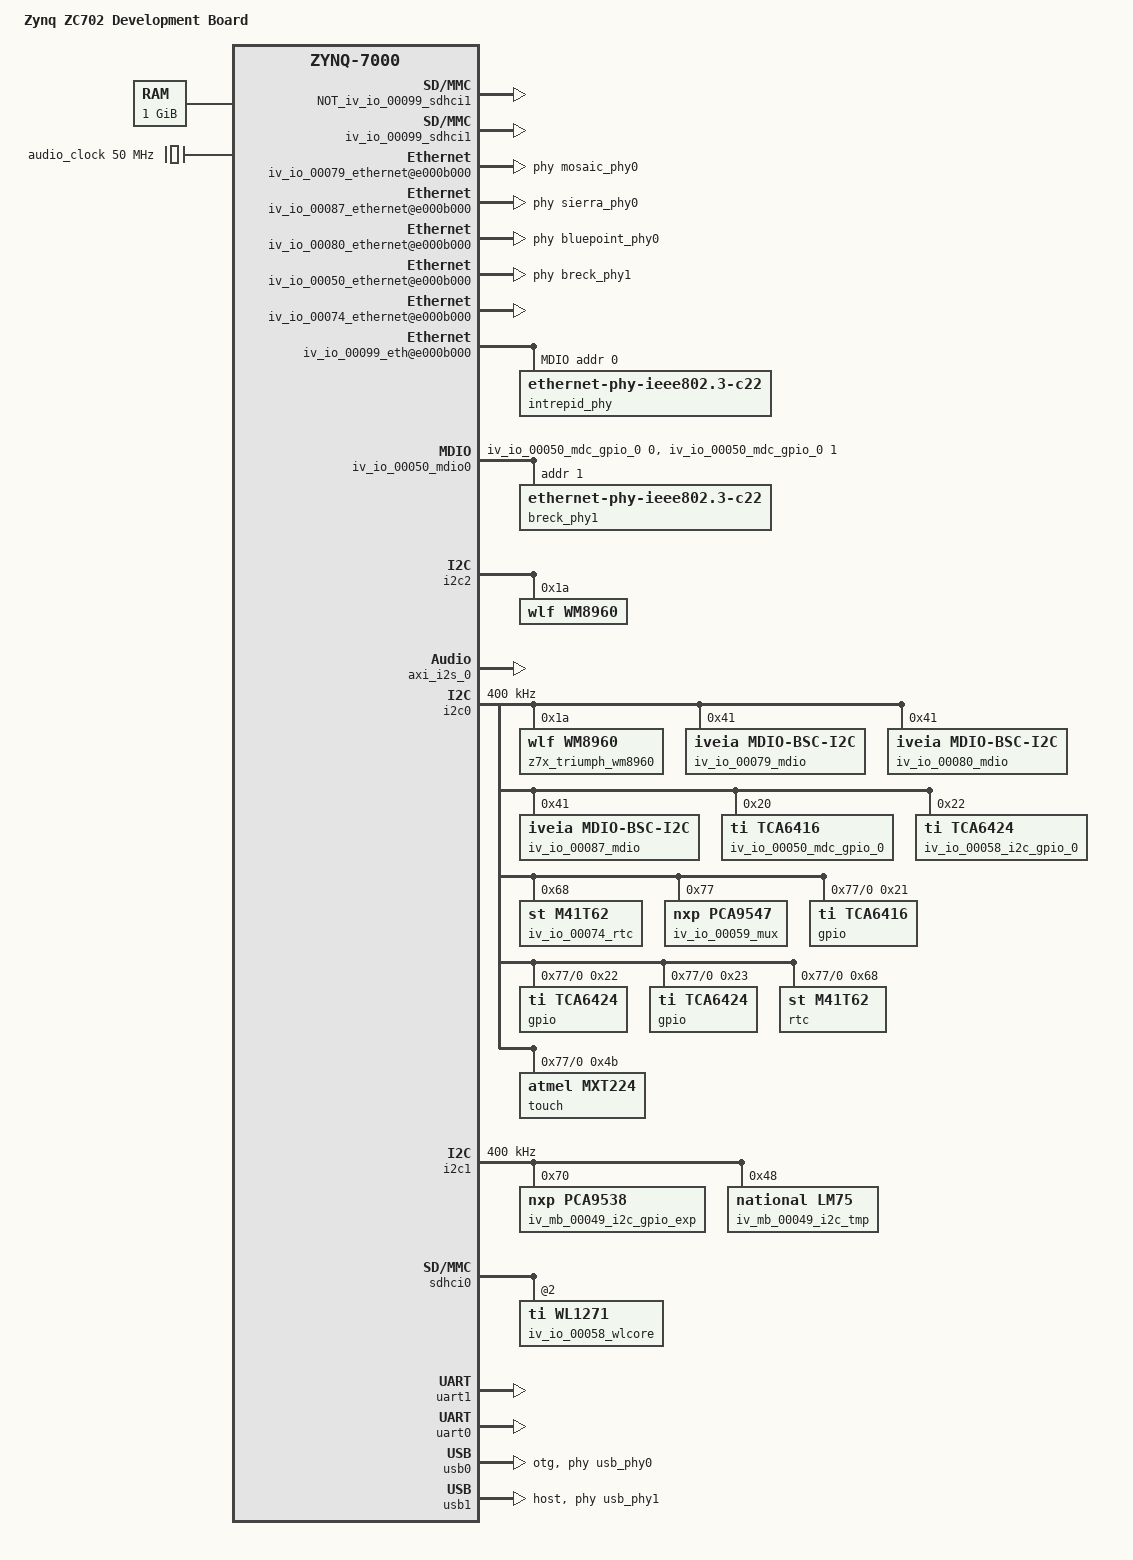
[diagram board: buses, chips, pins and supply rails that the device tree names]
/*
 *  Copyright (C) 2011 - 2014 Xilinx
 *  Copyright (C) 2012 National Instruments Corp.
 *
 * This software is licensed under the terms of the GNU General Public
 * License version 2, as published by the Free Software Foundation, and
 * may be copied, distributed, and modified under those terms.
 *
 * This program is distributed in the hope that it will be useful,
 * but WITHOUT ANY WARRANTY; without even the implied warranty of
 * MERCHANTABILITY or FITNESS FOR A PARTICULAR PURPOSE.  See the
 * GNU General Public License for more details.
 */
/dts-v1/;
#include "zynq-7000.dtsi"

/ {
	model = "Zynq ZC702 Development Board";
//	compatible = "xlnx,zynq-zc702", "xlnx,zynq-7000";
	compatible = "iveia,atlas-i-z7e";

	aliases {
		i2c0 = &i2c0;
		i2c1 = &i2c1;
		serial0 = &uart1;
		mmc0 = &sdhci0;
	};

	memory@0 {
		device_type = "memory";
		reg = <0x0 0x40000000>;
	};

	chosen {
		bootargs = "console=ttyPS1,115200 root=/dev/ram rw earlyprintk";
		stdout-path = "serial0:115200n8";
	};

	iveia_fb {
		compatible = "iveia,fb";
	};
	
	usb_phy0: phy0@e0002000 {
		compatible = "ulpi-phy";
		#phy-cells = <0>;
		reg = <0xe0002000 0x1000>;
		view-port = <0x0170>;
		drv-vbus;
	};

	usb_phy1: phy0@e0003000 {
		compatible = "ulpi-phy";
		#phy-cells = <0>;
		reg = <0xe0003000 0x1000>;
		view-port = <0x0170>;
		drv-vbus;
	};

};

&amba {
	ocm: sram@fffc0000 {
		compatible = "mmio-sram";
		reg = <0xfffc0000 0x10000>;
	};

	NOT_iv_io_00099_sdhci1: sdhci@e0101000 {
		compatible = "arasan,sdhci-8.9a";
		u-boot,dm-pre-reloc;
		status = "okay"; 
		clock-names = "clk_xin", "clk_ahb";
		clocks = <&clkc 22>, <&clkc 33>;
		interrupt-parent = <&intc>;
		interrupts = <0 47 4>;
		reg = <0xe0101000 0x1000>;
		broken-adma2;
	};

	iv_io_00099_sdhci1: sdhci@e0101000 {
		compatible = "arasan,sdhci-8.9a";
		u-boot,dm-pre-reloc;
		status = "okay"; 
		clock-names = "clk_xin", "clk_ahb";
		clocks = <&clkc 22>, <&clkc 33>;
		interrupt-parent = <&intc>;
		interrupts = <0 47 4>;
		reg = <0xe0101000 0x1000>;
		broken-adma2;

		//vmmc-supply = <&wl12xx_reg>;

		disable-wp;
		non-removeable;
		cap-power-off-card;
	};

	iv_io_00079_ethernet@e000b000 { //ETH0 on MOSAIC
		compatible = "cdns,gem";
		reg = <0xe000b000 0x1000>;
		status = "okay";
		interrupts = <0 22 4>;
		clocks = <&clkc 30>, <&clkc 30>, <&clkc 13>;
		clock-names = "pclk", "hclk", "tx_clk";
		#address-cells = <1>;
		#size-cells = <0>;
           	phy-handle = <&mosaic_phy0>;
     		use-internal-mdio = <0>;
	};

	iv_io_00087_ethernet@e000b000 { //ETH0 on Sierra
		compatible = "cdns,gem";
		reg = <0xe000b000 0x1000>;
		status = "okay";
		interrupts = <0 22 4>;
		clocks = <&clkc 30>, <&clkc 30>, <&clkc 13>;
		clock-names = "pclk", "hclk", "tx_clk";
		#address-cells = <1>;
		#size-cells = <0>;
           	phy-handle = <&sierra_phy0>;
        	use-internal-mdio = <0>;
	};

	iv_io_00080_ethernet@e000b000 { //ETH0 on Bluepoint
		compatible = "cdns,gem";
		reg = <0xe000b000 0x1000>;
		status = "okay";
		interrupts = <0 22 4>;
		clocks = <&clkc 30>, <&clkc 30>, <&clkc 13>;
		clock-names = "pclk", "hclk", "tx_clk";
		#address-cells = <1>;
		#size-cells = <0>;
           	phy-handle = <&bluepoint_phy0>;
            	use-internal-mdio = <0>;
	};

	iv_io_00050_ethernet@e000b000 { //ETH0 on Breckenridge
		compatible = "cdns,gem";
		reg = <0xe000b000 0x1000>;
		status = "okay";
		interrupts = <0 22 4>;
		clocks = <&clkc 30>, <&clkc 30>, <&clkc 13>;
		clock-names = "pclk", "hclk", "tx_clk";
		#address-cells = <1>;
		#size-cells = <0>;
            	phy-handle = <&breck_phy1>;
            	use-internal-mdio = <0>;
	};

	iv_io_00074_ethernet@e000b000 { //ETH0 on Captiva
		compatible = "cdns,gem";
		reg = <0xe000b000 0x1000>;
		status = "okay";
		interrupts = <0 22 4>;
		clocks = <&clkc 30>, <&clkc 30>, <&clkc 13>;
		clock-names = "pclk", "hclk", "tx_clk";
		#address-cells = <1>;
		#size-cells = <0>;
		use-internal-mdio = <1>;
	};

	iv_io_00099_eth@e000b000 { //ETH0 on Intrepid
		compatible = "cdns,gem";
		reg = <0xe000b000 0x1000>;
		status = "okay";
		interrupts = <0 22 4>;
		clocks = <&clkc 30>, <&clkc 30>, <&clkc 13>;
		clock-names = "pclk", "hclk", "tx_clk";
		#address-cells = <1>;
		#size-cells = <0>;
		use-internal-mdio = <1>;
		mdio {
			#address-cells = <1>;
			#size-cells = <0>;
			intrepid_phy: phy@0 {
				compatible = "ethernet-phy-ieee802.3-c22";
				device_type = "ethernet-phy";
				reg = <0>;
			};
		};
	};

	iv_io_00050_mdio0: mdio {
		compatible = "virtual,mdio-gpio";
		#address-cells = <1>;
		#size-cells = <0>;

		gpios = <&iv_io_00050_mdc_gpio_0 0 0 &iv_io_00050_mdc_gpio_0 1 0>;

		breck_phy1: phy@1 {
			compatible = "ethernet-phy-ieee802.3-c22";
			device_type = "ethernet-phy";
			reg = <1>;
		};
	};

	iv_mb_00049@0 { //Atlas-I-Z7e
		compatible = "simple-bus";
		#address-cells = <0x1>;
		#size-cells = <0x1>;
		ranges;

		i2c2: i2c@7c000000 {
			compatible = "iveia,i2c-ocp";
			reg = <0x7c000000 0x0100>;
			i2c-clk = <100000>;

			#address-cells = <1>;
			#size-cell = <0>;
			wm8960: wm8960@1a {
				compatible = "wlf,wm8960";
				#address-cells = <1>;
				#size-cells = <0>;
				reg = <0x1a>;
			};
		};

                audio_clock: audio_clock {
                        compatible = "fixed-clock";
                        #clock-cells = <0>;
                        clock-frequency = <50000000>;
                };

                i2s_clk_0: i2s_clk {
                        compatible = "fixed-clock";
                        #clock-cells = <0>;
                        clock-frequency = <100000000>;
                };

                axi_i2s_0: axi-i2s@0x7c000100 {
                        compatible = "adi,iv-axi-i2s-1.00.a";
                        reg = <0x7c000100 0x0100>;
                        dmas = <&dmac_s 1 &dmac_s 2>;
                        dma-names = "tx", "rx";
                        clocks = <&i2s_clk_0 &audio_clock>;
                        clock-names = "axi", "i2s";
                };

                z7e_sound {
                        compatible = "iveia,z7e-sound";
                        audio-codec = <&wm8960>;
                        cpu-dai = <&axi_i2s_0>;
                };
	};


};

&clkc {
	ps-clk-frequency = <33333333>;
};

&i2c0 {
	status = "okay";
	clock-frequency = <400000>;

	z7x_triumph_wm8960: iv_mb_00068_iv_io_00043_wm8960@1a {//Atlas-II-Z7x on Triumph Carrier
		compatible = "wlf,wm8960";
		#address-cells = <1>;
		#size-cells = <0>;
		reg = <0x1a>;
	};

	iv_io_00079_mdio@40 {  //Mosaic Tri-Mode Ethernet PHY
                compatible = "iveia,mdio-bsc-i2c";
                reg = <0x41>;
		#address-cells = <1>;
		#size-cells = <0>;

		mosaic_phy0: phy@1 {
			compatible = "ethernet-phy-ieee802.3-c22";
			device_type = "ethernet-phy";
			reg = <1>;
		};
	};


	iv_io_00080_mdio@40 {  //Bluepoint Tri-Mode Ethernet PHY
                compatible = "iveia,mdio-bsc-i2c";
                reg = <0x41>;
		#address-cells = <1>;
		#size-cells = <0>;

		bluepoint_phy0: phy@1 {
			compatible = "ethernet-phy-ieee802.3-c22";
			device_type = "ethernet-phy";
			reg = <1>;
		};
	};

	iv_io_00087_mdio@40 {  //Sierra Tri-Mode Ethernet PHY
                compatible = "iveia,mdio-bsc-i2c";
                reg = <0x41>;
		#address-cells = <1>;
		#size-cells = <0>;

		sierra_phy0: phy@1 {
			compatible = "ethernet-phy-ieee802.3-c22";
			device_type = "ethernet-phy";
			reg = <1>;
			};
	};

	iv_io_00050_mdc_gpio_0: iv_io_00050_gpio@20 {
		compatible = "ti,tca6416";
		reg = <0x20>;
		gpio-controller;
		#gpio-cells = <2>;
	};

	iv_io_00058_i2c_gpio_0: iv_io_00058_i2c_gpio@22 {
		compatible = "ti,tca6424";
		reg = <0x22>;
		gpio-controller;
		#gpio-cells = <2>;
	};

	iv_io_00074_rtc@68 {
		compatible = "st,m41t62";
		reg = <0x68>;	
	};

	iv_io_00059_mux@77 {
		compatible = "nxp,pca9547";
		reg = <0x77>;
		#address-cells = <1>;
		#size-cells = <0>;

		i2c@0 {
			#address-cells = <1>;
			#size-cells = <0>;
			reg = <0>;

			gpio@21 {
				compatible = "ti,tca6416";
				reg = <0x21>;
			};

			gpio@22 {
				compatible = "ti,tca6424";
				reg = <0x22>;
			};

			gpio@23 {
				compatible = "ti,tca6424";
				reg = <0x23>;
			};

			rtc@68 {
				compatible = "st,m41t62";
				reg = <0x68>;	
			};

			touch@4b {
				compatible = "atmel,mXT224";
				reg = <0x4b>;
				interrupt-parent = <&intc>;
				interrupts = <0 55 4>;
			};
		};
	
	};

};

&i2c1 {
	status = "okay";
	clock-frequency = <400000>;

	iv_mb_00049_i2c_gpio_exp: gpio@70 {
		compatible = "nxp,pca9538";
		reg = <0x70>;
	};

	iv_mb_00049_i2c_tmp: tmp@48 {
		compatible = "national,lm75";
		reg = <0x48>;	
	};
};

&sdhci0 {
	u-boot,dm-pre-reloc;
	status = "okay";
	iv_io_00058_wlcore: iv_io_00058_wlcore@2 {
		compatible = "ti,wl1271";
		reg = <2>;
		interrupt-parent = <&intc>;
		interrupts = <0 57 4>;//89-32
		ref-clock-frequency = <38400000>;
	};
};

&uart1 {
	u-boot,dm-pre-reloc;
	status = "okay";
};

&uart0 {
	u-boot,dm-pre-reloc;
	status = "okay";
};

&usb0 {
	status = "okay";
	dr_mode = "otg";
	usb-phy = <&usb_phy0>;
};

&usb1 {
	status = "okay";
	dr_mode = "host";
	usb-phy = <&usb_phy1>;
};
